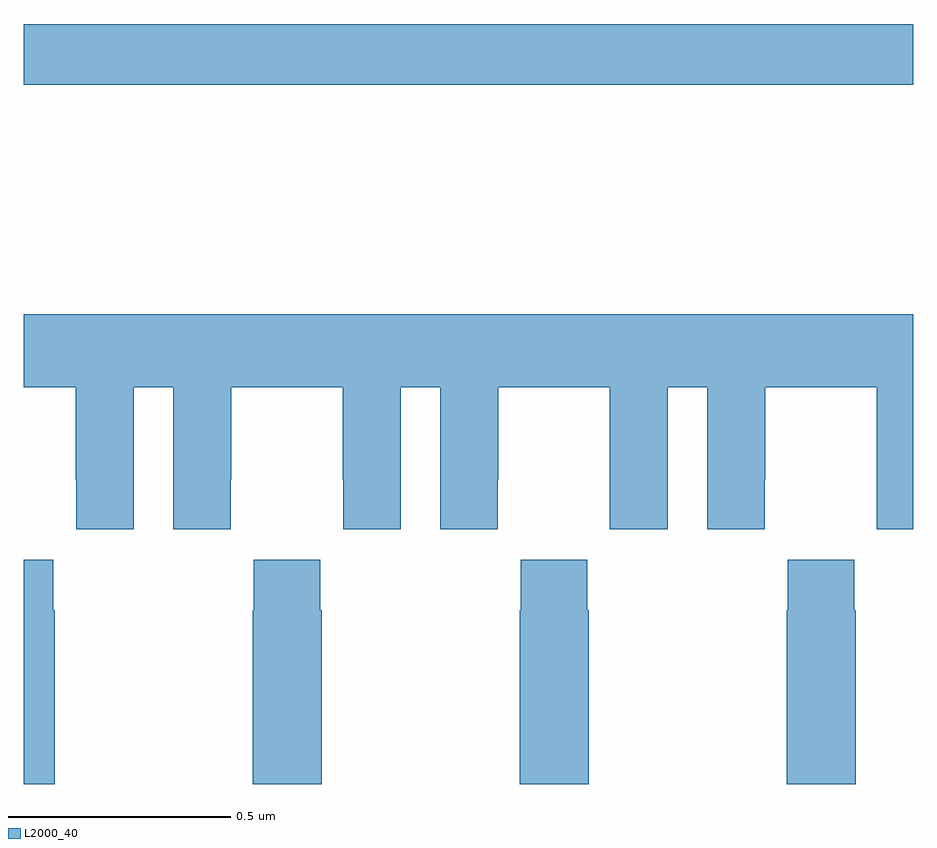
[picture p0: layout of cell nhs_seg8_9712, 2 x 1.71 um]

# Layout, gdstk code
import gdstk
lib = gdstk.Library(unit=1e-6, precision=1e-09)
def R(c, l, rs):  # rectangles x0, y0, x1, y1
    for r in rs: c.add(gdstk.rectangle(r[:2], r[2:], *l))
def P(c, l, *ps):  # polygons
    for p in ps: c.add(gdstk.Polygon(p, *l))
L2000_40 = (2000, 40)

nhs_seg8_9712 = lib.new_cell('nhs_seg8_9712')
R(nhs_seg8_9712, L2000_40, [(239,1158.472,241,1158.608)])
P(nhs_seg8_9712, L2000_40, [(239.248,1157.792),(239.336,1157.792),(239.336,1157.472),(239.466,1157.472),(239.466,1157.584),(239.467,1157.584),(239.467,1157.792),(239.717,1157.792),(239.717,1157.584),(239.718,1157.584),(239.718,1157.472),(239.848,1157.472),(239.848,1157.792),(239.936,1157.792),(239.936,1157.472),(240.066,1157.472),(240.066,1157.584),(240.067,1157.584),(240.067,1157.792),(240.317,1157.792),(240.317,1157.584),(240.318,1157.584),(240.318,1157.472),(240.448,1157.472),(240.448,1157.792),(240.536,1157.792),(240.536,1157.472),(240.666,1157.472),(240.666,1157.584),(240.667,1157.584),(240.667,1157.792),(240.917,1157.792),(240.917,1157.584),(240.918,1157.584),(240.918,1157.472),(241,1157.472),(241,1157.956),(239,1157.956),(239,1157.792),(239.117,1157.792),(239.117,1157.584),(239.118,1157.584),(239.118,1157.472),(239.248,1157.472)],
  [(239.67,1157.291),(239.667,1157.291),(239.667,1157.404),(239.517,1157.404),(239.517,1157.291),(239.515,1157.291),(239.515,1156.9),(239.67,1156.9)],
  [(240.27,1157.291),(240.267,1157.291),(240.267,1157.404),(240.117,1157.404),(240.117,1157.291),(240.115,1157.291),(240.115,1156.9),(240.27,1156.9)],
  [(240.87,1157.291),(240.867,1157.291),(240.867,1157.404),(240.717,1157.404),(240.717,1157.291),(240.715,1157.291),(240.715,1156.9),(240.87,1156.9)],
  [(239.07,1157.291),(239.067,1157.291),(239.067,1157.404),(239,1157.404),(239,1156.9),(239.07,1156.9)])

lib.write_gds('nhs_seg8_9712.gds')
